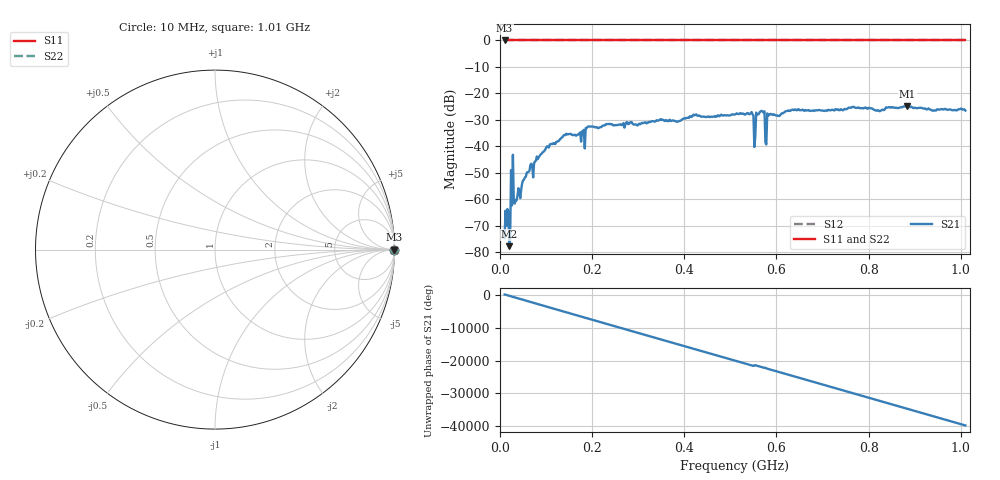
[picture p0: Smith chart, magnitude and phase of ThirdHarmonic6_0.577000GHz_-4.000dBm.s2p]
! 8/15/2025 6:35:23 PM
! C:\ANRITSUVNA\TEMP\TEMP.S2P
! CHANNEL.1
! TR.MEASUREMENT
! RAW.DATA
! RF.CORRECTION.OFF
! AVERAGING.OFF
! IF.BANDWIDTH: 5KHZ
! SWEEPTYPE:  FREQ.SWEEP(Linear)
! Reference Plane Port Info
! PORT:  PORT1  PORT2
! DISTANCE:  0  m  0  m
! TIME:  0  s  0  s
! PHASE.OFFSET:  0  deg.  0  deg.
! LOSS:  0  dB  0  dB
! REF.LOSS:  0  dB  0  dB
! REF.FREQ:  0  Hz  0  Hz
! Power Info
! POWER:  -20  dBm  -20  dBm
! EFF.POWER:  -20  dBm  -20  dBm
! SOURCE.ATTEN:  0  dB  0  dB
! TEST.ATTEN:  0  dB  0  dB
# GHZ S RI R 50.0
! FREQ.GHZ  S11RE  S11IM  S21RE  S21IM  S12RE  S12IM  S22RE  S22IM
!; PortSelection: Port_12
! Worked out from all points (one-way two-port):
!   501 points, 10 MHz to 1.01 GHz, reference 50 ohm
!   highest |S21| = -24.71 dB at 884 MHz (marker M1); lowest = -77.7 dB at 20 MHz (marker M2)
!   lowest |S11| = 0.0 dB at 10 MHz (marker M3)
!   |S11| at or under -10 dB: nowhere
!   |S22| runs from 0.0 to 0.0 dB; largest |S21 - S12| = 1.1
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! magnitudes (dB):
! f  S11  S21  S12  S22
! 10 MHz  0.0  -74.6  0.0  0.0
! 14 MHz  0.0  -70.0  0.0  0.0
! 18 MHz  0.0  -64.6  0.0  0.0
! 20 MHz  0.0  -77.7  0.0  0.0
! 28 MHz  0.0  -43.2  0.0  0.0
! 34 MHz  0.0  -60.3  0.0  0.0
! 64 MHz  0.0  -49.2  0.0  0.0
! 100 MHz  0.0  -40.6  0.0  0.0
! 178 MHz  0.0  -34.4  0.0  0.0
! 344 MHz  0.0  -30.3  0.0  0.0
! 510 MHz  0.0  -28.0  0.0  0.0
! 546 MHz  0.0  -27.1  0.0  0.0
! 554 MHz  0.0  -36.4  0.0  0.0
! 560 MHz  0.0  -28.0  0.0  0.0
! 570 MHz  0.0  -26.9  0.0  0.0
! 574 MHz  0.0  -26.8  0.0  0.0
! 580 MHz  0.0  -27.6  0.0  0.0
! 584 MHz  0.0  -28.2  0.0  0.0
! 678 MHz  0.0  -26.5  0.0  0.0
! 844 MHz  0.0  -25.2  0.0  0.0
! 884 MHz  0.0  -24.7  0.0  0.0
! 1.01 GHz  0.0  -26.5  0.0  0.0
